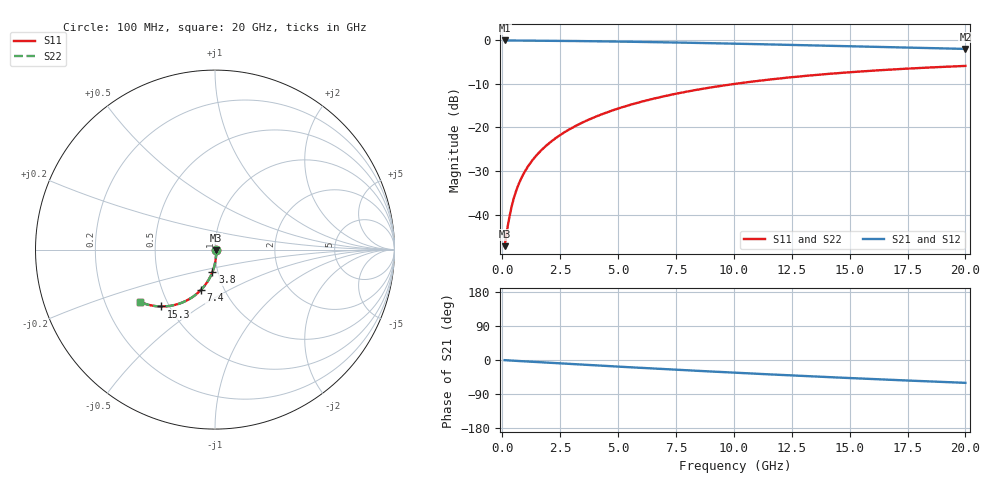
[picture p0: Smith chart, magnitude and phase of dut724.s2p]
! Touchstone file exported from HFSS 2026.1.0
!  File:  C:/ffzhzh/LocalFiles/Ansys_Project_Files/temp_train_TMRDL_724_1783154798_43440.aedt
!  Generated:  04:48:12 PM Jul  4, 2026
!  Design:  TMRDL
!  Project:  temp_train_TMRDL_724_1783154798_43440
! Variables:
!  h_bsmrdl = 2um
!  h_ox = 20um
!  h_rdl = 5um
!  h_sub = 80um
!  h_tmrdl = 5.22um
!  h_tsv = 80um
!  h_via = 3um
!  l_bsmrdl = 300um
!  l_sub = 1299.22um
!  l_tmrdl = 899.22um
!  m_sub = 200um
!  pitch = 18.79um
!  r_tsv = 6um
!  s_tmrdl = 10um
!  w_bsmrdl = 18um
!  w_sub = 500um
!  w_tmrdl = 17.76um
!  x_tsv_center1 = 908.1um
!  x_tsv_center2 = 1226.1um
!  x_tsv_center3 = 2143.08um
!  x_tsv_center4 = 2461.08um
!  x_tsv_center5 = 3378.06um
!  x_tsv_center6 = 3696.06um
# GHz S MA R 50.000000
! Terminal data exported
! Port[1] = TM_RDL1_1_T1
! Port[2] = TM_RDL1_1_T2
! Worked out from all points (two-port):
!   200 points, 100 MHz to 20 GHz, reference 50 ohm
!   highest |S21| = -0.03 dB at 100 MHz (marker M1); lowest = -2.0 dB at 20 GHz (marker M2)
!   |S21| within 3 dB of the highest: start of sweep to end of sweep
!   lowest |S11| = -47.2 dB at 100 MHz (marker M3), VSWR 1.01, Z = 50.4 - j0.218 ohm
!   |S11| at or under -10 dB: start of sweep to 10.04 GHz
!   |S22| runs from -47.2 to -5.9 dB; largest |S21 - S12| = 1.7e-14
!   S11 on the Smith chart (normalised r, x): 100 MHz: 1.01, -0.00; 3.8 GHz: 0.94, -0.24; 7.4 GHz: 0.77, -0.37; 15.3 GHz: 0.45, -0.35; 20 GHz: 0.35, -0.28
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0.1  0.004353 -29.8  0.9962 -0.4  0.9962 -0.4  0.004353 -29.8
! Gamma 0 0 0 0
! Port Impedance 50 0 50 0
0.2  0.006467 -46.7  0.9955 -0.8  0.9955 -0.8  0.006467 -46.7
0.3  0.009231 -56.2  0.9947 -1.2  0.9947 -1.2  0.009231 -56.2
0.4  0.01231 -62.4  0.9939 -1.6  0.9939 -1.6  0.01231 -62.4
0.5  0.01553 -67.0  0.9934 -1.9  0.9934 -1.9  0.01553 -67.0
0.6  0.01882 -70.5  0.9929 -2.3  0.9929 -2.3  0.01882 -70.5
0.8  0.02545 -75.6  0.9921 -3.0  0.9921 -3.0  0.02545 -75.5
1.1  0.03543 -80.4  0.9911 -4.0  0.9911 -4.0  0.03543 -80.4
1.5  0.04871 -84.6  0.9897 -5.4  0.9897 -5.4  0.04871 -84.6
1.8  0.05867 -86.8  0.9885 -6.5  0.9885 -6.5  0.05867 -86.8
2.1  0.06865 -88.7  0.9871 -7.5  0.9871 -7.5  0.06865 -88.7
2.7  0.08863 -91.8  0.984 -9.6  0.984 -9.6  0.08863 -91.8
3.5  0.1153 -95.3  0.979 -12.4  0.979 -12.4  0.1153 -95.3
3.8  0.1253 -96.5  0.9769 -13.4  0.9769 -13.4  0.1253 -96.5
5.2  0.1714 -101.8  0.9658 -18.1  0.9658 -18.1  0.1714 -101.8
6.8  0.2224 -107.5  0.9508 -23.4  0.9508 -23.4  0.2224 -107.5
7.4  0.2408 -109.5  0.9447 -25.3  0.9447 -25.3  0.2408 -109.5
10.1  0.318 -118.3  0.9147 -33.7  0.9147 -33.7  0.3179 -118.3
13.4  0.3975 -128.1  0.8747 -43.3  0.8747 -43.3  0.3975 -128.1
15.3  0.4358 -133.3  0.8513 -48.4  0.8513 -48.4  0.4357 -133.3
16.7  0.4606 -137.0  0.8344 -52.1  0.8344 -52.1  0.4605 -137.0
20  0.5085 -145.0  0.7969 -60.3  0.7969 -60.3  0.5084 -145.0
